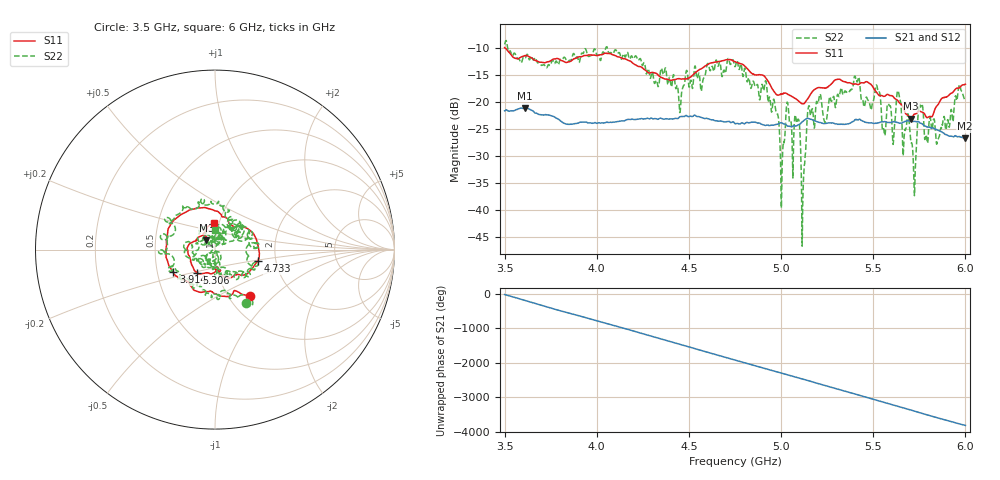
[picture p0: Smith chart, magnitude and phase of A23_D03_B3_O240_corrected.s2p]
! Created with skrf 1.9.0 (http://scikit-rf.org).
# Hz S RI R 50.0
!freq ReS11 ImS11 ReS21 ImS21 ReS12 ImS12 ReS22 ImS22
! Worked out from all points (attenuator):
!   1601 points, 3.5 GHz to 6 GHz, reference 50 ohm
!   highest |S21| = -21.06 dB at 3.609 GHz (marker M1); lowest = -26.7 dB at 5.997 GHz (marker M2)
!   lowest |S11| = -23.0 dB at 5.705 GHz (marker M3), VSWR 1.15, Z = 45.2 + j4.66 ohm
!   |S11| at or under -10 dB: 3.505 GHz to end of sweep
!   |S22| runs from -46.7 to -8.5 dB; largest |S21 - S12| = 0.00097
!   S11 on the Smith chart (normalised r, x): 3.5 GHz: 1.25, -0.72; 3.914 GHz: 0.61, -0.16; 4.733 GHz: 1.61, -0.22; 5.306 GHz: 0.79, -0.21; 6 GHz: 0.94, +0.28
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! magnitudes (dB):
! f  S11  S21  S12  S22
! 3.5 GHz  -9.9  -21.6  -21.6  -9.3
! 3.609 GHz  -11.3  -21.1  -21.1  -11.8
! 3.914 GHz  -11.5  -23.7  -23.6  -11.2
! 3.917 GHz  -11.5  -23.7  -23.7  -10.9
! 4.334 GHz  -15.0  -23.1  -23.1  -17.0
! 4.733 GHz  -12.2  -23.7  -23.7  -12.6
! 4.75 GHz  -12.5  -24.0  -23.9  -13.4
! 4.967 GHz  -18.2  -24.2  -24.1  -20.6
! 5.006 GHz  -18.4  -23.9  -23.8  -31.1
! 5.034 GHz  -18.5  -24.4  -24.3  -20.0
! 5.088 GHz  -19.5  -24.3  -24.3  -23.6
! 5.119 GHz  -20.3  -23.5  -23.4  -37.1
! 5.145 GHz  -19.3  -23.0  -23.0  -21.5
! 5.167 GHz  -18.1  -23.2  -23.2  -21.3
! 5.306 GHz  -15.7  -24.1  -24.0  -18.6
! 5.584 GHz  -18.6  -23.7  -23.7  -20.4
! 5.705 GHz  -23.0  -23.5  -23.5  -27.3
! 5.722 GHz  -22.2  -23.5  -23.5  -35.8
! 5.756 GHz  -21.7  -23.8  -23.8  -20.9
! 5.852 GHz  -20.4  -25.2  -25.1  -26.8
! 5.997 GHz  -16.7  -26.7  -26.6  -19.4
! 6 GHz  -16.6  -26.7  -26.6  -19.4
